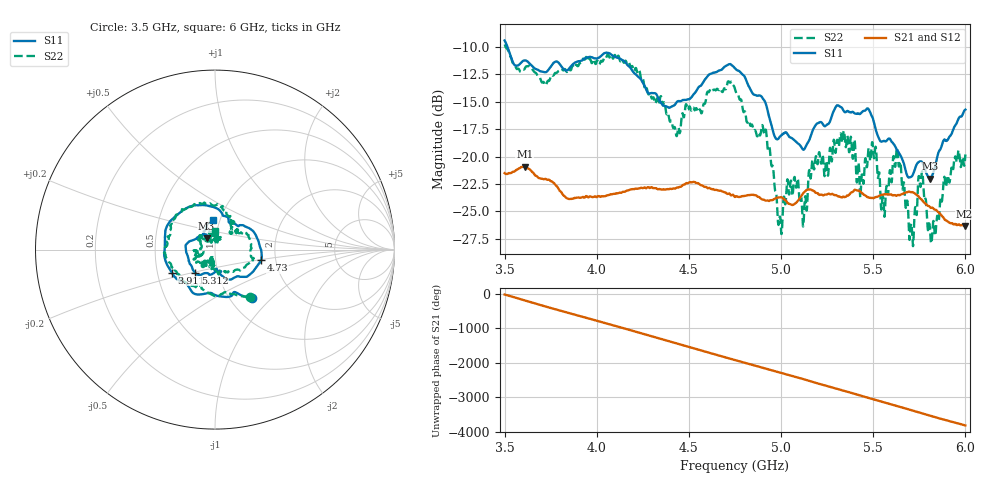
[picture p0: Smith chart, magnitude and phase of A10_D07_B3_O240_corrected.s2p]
! Created with skrf 1.9.0 (http://scikit-rf.org).
# Hz S RI R 50.0
!freq ReS11 ImS11 ReS21 ImS21 ReS12 ImS12 ReS22 ImS22
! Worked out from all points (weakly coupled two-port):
!   1601 points, 3.5 GHz to 6 GHz, reference 50 ohm
!   highest |S21| = -20.91 dB at 3.609 GHz (marker M1); lowest = -26.3 dB at 5.995 GHz (marker M2)
!   lowest |S11| = -22.0 dB at 5.806 GHz (marker M3), VSWR 1.17, Z = 45.2 + j5.82 ohm
!   |S11| at or under -10 dB: 3.515 GHz to end of sweep
!   |S22| runs from -28.2 to -9.8 dB; largest |S21 - S12| = 0.001
!   S11 on the Smith chart (normalised r, x): 3.5 GHz: 1.26, -0.76; 3.911 GHz: 0.59, -0.16; 4.73 GHz: 1.67, -0.21; 5.312 GHz: 0.78, -0.21; 6 GHz: 0.93, +0.31
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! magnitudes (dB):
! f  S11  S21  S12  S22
! 3.5 GHz  -9.4  -21.5  -21.5  -9.8
! 3.609 GHz  -11.2  -20.9  -20.9  -12.0
! 3.911 GHz  -11.3  -23.8  -23.7  -11.5
! 3.917 GHz  -11.3  -23.7  -23.7  -11.4
! 4.334 GHz  -14.7  -23.0  -22.9  -15.2
! 4.441 GHz  -14.9  -22.8  -22.8  -17.5
! 4.73 GHz  -11.6  -23.5  -23.5  -13.2
! 4.75 GHz  -11.9  -23.7  -23.6  -13.8
! 4.909 GHz  -14.9  -24.0  -23.9  -17.9
! 4.994 GHz  -18.2  -23.7  -23.7  -25.5
! 5.044 GHz  -18.2  -24.3  -24.3  -23.5
! 5.128 GHz  -19.3  -23.2  -23.2  -24.1
! 5.167 GHz  -17.8  -23.1  -23.0  -20.7
! 5.312 GHz  -15.4  -23.6  -23.6  -19.1
! 5.553 GHz  -18.6  -23.5  -23.4  -23.7
! 5.584 GHz  -18.4  -23.5  -23.4  -22.5
! 5.638 GHz  -19.6  -23.5  -23.5  -20.7
! 5.706 GHz  -21.8  -23.3  -23.2  -26.1
! 5.758 GHz  -20.4  -23.9  -23.8  -22.7
! 5.806 GHz  -22.0  -24.6  -24.6  -26.3
! 5.995 GHz  -15.8  -26.3  -26.3  -20.7
! 6 GHz  -15.7  -26.3  -26.3  -19.8
